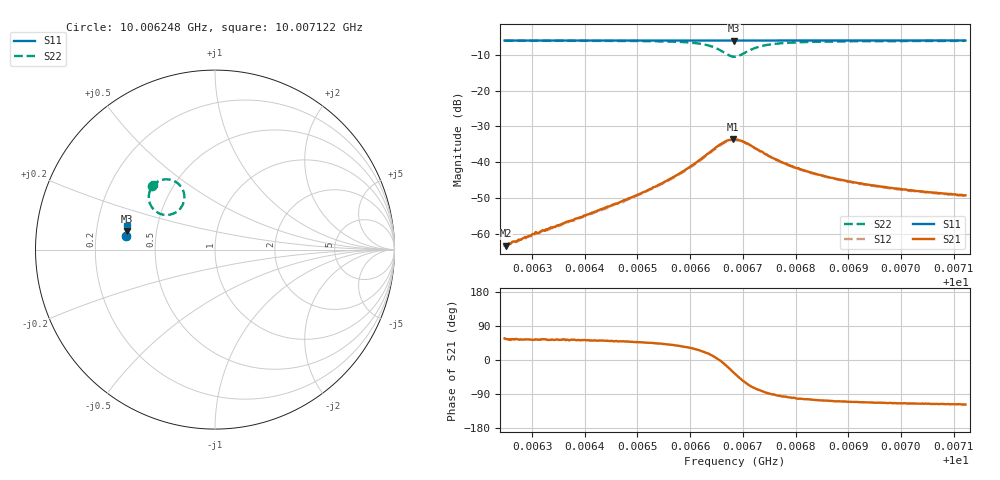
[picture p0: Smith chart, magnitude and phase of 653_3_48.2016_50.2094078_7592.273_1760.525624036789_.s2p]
#  HZ  S  RI  R  50.00
! Rohde & Schwarz Vector Network Analyzer
! Rohde-Schwarz,ZNB20-2Port,1311601062101988,3.16
! Created: UTC 3/20/2024, 12:05:19 PM
! freq[Hz]  re:S11  im:S11  re:S21  im:S21  re:S12  im:S12  re:S22  im:S22
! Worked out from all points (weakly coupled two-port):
!   401 points, 10.006248 GHz to 10.007122 GHz, reference 50 ohm
!   highest |S21| = -33.60 dB at 10.006681 GHz (marker M1); lowest = -63.4 dB at 10.00625 GHz (marker M2)
!   lowest |S11| = -6.0 dB at 10.006683 GHz (marker M3), VSWR 3.02, Z = 16.7 + j4.62 ohm
!   |S11| at or under -10 dB: nowhere
!   |S22| runs from -10.5 to -6.0 dB; largest |S21 - S12| = 0.0017
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1.00062478e10  -0.498 0.0762  0.000373 0.000571  0.000387 0.000541  -0.3536 0.3527
1.000625e10  -0.4979 0.0762  0.000385 0.000557  0.00037 0.000569  -0.3536 0.3528
1.00063222e10  -0.4972 0.0811  0.000646 0.000897  0.000586 0.000944  -0.3474 0.3589
1.00063943e10  -0.4966 0.086  0.00103 0.00135  0.000956 0.0014  -0.3393 0.3659
1.0006473e10  -0.4958 0.091  0.00188 0.0022  0.00169 0.00215  -0.3262 0.3754
1.00065408e10  -0.4949 0.0955  0.00352 0.00332  0.00329 0.00341  -0.3053 0.3855
1.00065845e10  -0.4943 0.0985  0.00591 0.00424  0.00554 0.00444  -0.2786 0.3912
1.00066326e10  -0.4931 0.1018  0.0124 0.004  0.0118 0.00463  -0.217 0.3762
1.0006648e10  -0.4925 0.1026  0.0157 0.00177  0.0152 0.00268  -0.1893 0.3503
1.00066611e10  -0.492 0.1031  0.0183 -0.0019  0.018 -0.000832  -0.1722 0.3099
1.0006672e10  -0.4917 0.1034  0.019 -0.0066  0.0189 -0.00518  -0.1744 0.265
1.00066807e10  -0.4916 0.1035  0.0179 -0.0107  0.0183 -0.00921  -0.1925 0.23
1.00066829e10  -0.4915 0.1033  0.0172 -0.0114  0.0178 -0.0101  -0.1991 0.2226
1.00066851e10  -0.4916 0.1035  0.0167 -0.0123  0.0172 -0.0109  -0.2065 0.2157
1.00067048e10  -0.4921 0.1041  0.00952 -0.0162  0.0104 -0.0152  -0.2829 0.1938
1.00067201e10  -0.4925 0.1051  0.00478 -0.0155  0.00569 -0.0152  -0.3263 0.2106
1.00067354e10  -0.4925 0.1061  0.002 -0.0139  0.00265 -0.0135  -0.3502 0.2341
1.00067748e10  -0.4924 0.109  -0.00105 -0.00991  -0.000309 -0.00995  -0.3683 0.2804
1.00068316e10  -0.4918 0.1129  -0.00181 -0.00684  -0.00146 -0.00682  -0.3664 0.3144
1.00068972e10  -0.4912 0.1173  -0.00188 -0.00513  -0.00157 -0.00516  -0.3599 0.334
1.00069781e10  -0.4901 0.1226  -0.00173 -0.00403  -0.00156 -0.00403  -0.3524 0.3479
1.00071224e10  -0.4879 0.1315  -0.00158 -0.00304  -0.00138 -0.00301  -0.3419 0.363
